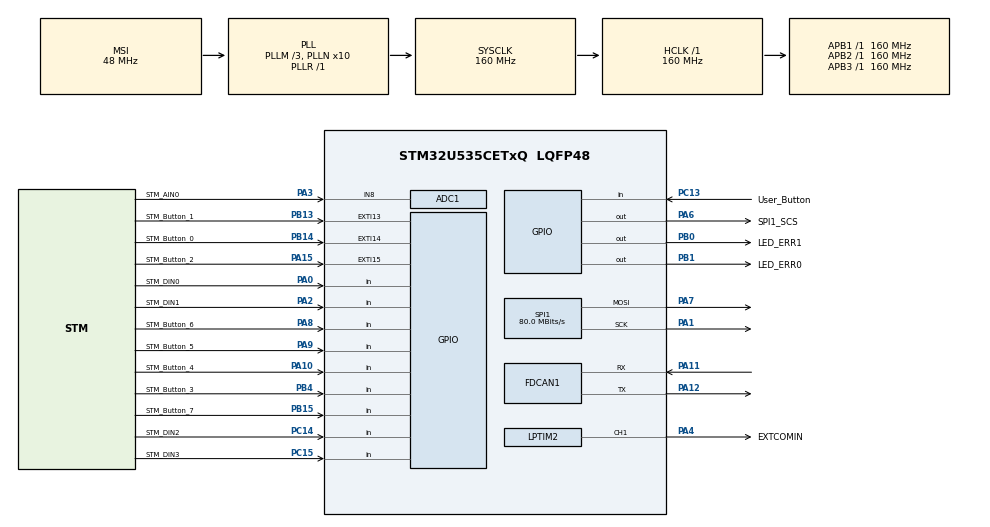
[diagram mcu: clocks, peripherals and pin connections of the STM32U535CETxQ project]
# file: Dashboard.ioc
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ADC1.Channel-0\#ChannelRegularConversion=ADC_CHANNEL_8
ADC1.MonitoredBy-0\#ChannelRegularConversion=__NULL
ADC1.NbrOfConversionFlag=1
ADC1.OffsetNumber-0\#ChannelRegularConversion=ADC_OFFSET_NONE
ADC1.Rank-0\#ChannelRegularConversion=1
ADC1.SamplingTime-0\#ChannelRegularConversion=ADC_SAMPLETIME_5CYCLE
ADC1.master=1
CORTEX_M33_NS.userName=CORTEX_M33
FDCAN1.CalculateBaudRateNominal=500000
FDCAN1.CalculateTimeBitNominal=2000
FDCAN1.CalculateTimeQuantumNominal=100.0
FDCAN1.NominalPrescaler=8
FDCAN1.NominalTimeSeg1=15
FDCAN1.NominalTimeSeg2=4
GPDMA1.DIRECTION_GPDMACH12=DMA_MEMORY_TO_PERIPH
GPDMA1.IPHANDLE_GPDMACH12-SIMPLEREQUEST_GPDMACH12=__NULL
GPDMA1.PRIORITY_GPDMACH12=DMA_LOW_PRIORITY_HIGH_WEIGHT
GPDMA1.REQUEST_GPDMACH12=GPDMA1_REQUEST_SPI1_TX
GPDMA1.SRCINC_GPDMACH12=DMA_SINC_INCREMENTED
LPTIM2.OCPulse_1=800
LPTIM2.Period=1599
Mcu.Family=STM32U5
Mcu.Name=STM32U535CETxQ
Mcu.Package=LQFP48
NVIC.EXTI13_IRQn=true\:0\:0\:false\:false\:true\:true\:true\:true
NVIC.EXTI14_IRQn=true\:0\:0\:false\:false\:true\:true\:true\:true
NVIC.EXTI15_IRQn=true\:0\:0\:false\:false\:true\:true\:true\:true
NVIC.FDCAN1_IT0_IRQn=true\:0\:0\:false\:false\:true\:true\:true\:true
NVIC.GPDMA1_Channel12_IRQn=true\:0\:0\:false\:false\:true\:false\:true\:true
NVIC.PriorityGroup=NVIC_PRIORITYGROUP_4
NVIC.SPI1_IRQn=true\:0\:0\:false\:false\:true\:false\:true\:true
NVIC.TIM2_IRQn=true\:0\:0\:false\:false\:true\:true\:true\:true
PA0.GPIO_Label=STM_DIN0
PA0.Signal=GPIO_Input
PA1.Mode=TX_Only_Simplex_Unidirect_Master
PA1.Signal=SPI1_SCK
PA10.GPIO_Label=STM_Button_4
PA10.Signal=GPIO_Input
PA11.Mode=FDCAN_Activate
PA11.Signal=FDCAN1_RX
PA12.Mode=FDCAN_Activate
PA12.Signal=FDCAN1_TX
PA13\ (JTMS/SWDIO).Mode=Serial_Wire
PA13\ (JTMS/SWDIO).Signal=DEBUG_JTMS-SWDIO
PA14\ (JTCK/SWCLK).Mode=Serial_Wire
PA14\ (JTCK/SWCLK).Signal=DEBUG_JTCK-SWCLK
PA15\ (JTDI).GPIO_Label=STM_Button_2
PA15\ (JTDI).GPIO_ModeDefaultEXTI=GPIO_MODE_IT_FALLING
PA15\ (JTDI).Signal=GPXTI15
PA2.GPIO_Label=STM_DIN1
PA2.Signal=GPIO_Input
PA3.GPIO_Label=STM_AIN0
PA3.Mode=IN8-Single-Ended
PA3.Signal=ADC1_IN8
PA4.GPIO_Label=EXTCOMIN
PA4.Signal=S_LPTIM2_CH1
PA6.GPIO_Label=SPI1_SCS
PA6.Signal=GPIO_Output
PA7.Mode=TX_Only_Simplex_Unidirect_Master
PA7.Signal=SPI1_MOSI
PA8.GPIO_Label=STM_Button_6
PA8.Signal=GPIO_Input
PA9.GPIO_Label=STM_Button_5
PA9.Signal=GPIO_Input
PB0.GPIO_Label=LED_ERR1
PB0.Signal=GPIO_Output
PB1.GPIO_Label=LED_ERR0
PB1.Signal=GPIO_Output
PB13.GPIO_Label=STM_Button_1
PB13.GPIO_ModeDefaultEXTI=GPIO_MODE_IT_FALLING
PB13.Signal=GPXTI13
PB14.GPIO_Label=STM_Button_0
PB14.GPIO_ModeDefaultEXTI=GPIO_MODE_IT_FALLING
PB14.Signal=GPXTI14
PB15.GPIO_Label=STM_Button_7
PB15.Signal=GPIO_Input
PB4\ (NJTRST).GPIO_Label=STM_Button_3
PB4\ (NJTRST).Signal=GPIO_Input
PC13.GPIO_Label=User_Button
PC13.Signal=GPIO_Input
PC14-OSC32_IN\ (PC14).GPIO_Label=STM_DIN2
PC14-OSC32_IN\ (PC14).Signal=GPIO_Input
PC15-OSC32_OUT\ (PC15).GPIO_Label=STM_DIN3
PC15-OSC32_OUT\ (PC15).Signal=GPIO_Input
PH0-OSC_IN\ (PH0).Mode=HSE-External-Oscillator
PH0-OSC_IN\ (PH0).Signal=RCC_OSC_IN
PH1-OSC_OUT\ (PH1).Mode=HSE-External-Oscillator
PH1-OSC_OUT\ (PH1).Signal=RCC_OSC_OUT
PWR.PowerMode=PWR_SMPS_SUPPLY
ProjectManager.HeapSize=0x200
ProjectManager.StackSize=0x400
ProjectManager.TargetToolchain=STM32CubeIDE
RCC.ADCFreq_Value=16000000
RCC.AHBFreq_Value=160000000
RCC.APB1Freq_Value=160000000
RCC.APB1TimFreq_Value=160000000
RCC.APB2Freq_Value=160000000
RCC.APB2TimFreq_Value=160000000
RCC.APB3Freq_Value=160000000
RCC.CortexFreq_Value=160000000
RCC.DACCLockSelectionVirtual=RCC_DAC1CLKSOURCE_LSI
RCC.DACCLockSelectionVirtualString=RCC_DAC1CLKSOURCE_LSI
RCC.EPOD_VALUE=48000000
RCC.HCLKFreq_Value=160000000
RCC.HSE_VALUE=16000000
RCC.HSI48_VALUE=48000000
RCC.HSI_VALUE=16000000
RCC.LPTIM2CLockSelectionVirtual=RCC_LPTIM2CLKSOURCE_LSI
RCC.LSE_VALUE=32768
RCC.LSIDIV_VALUE=32000
RCC.MSIClockRange=RCC_MSIRANGE_0
RCC.MSI_VALUE=48000000
RCC.PLL1R=1
RCC.PLL2FRACN=0
RCC.PLL3FRACN=0
RCC.PLLFRACN=0
RCC.PLLM=3
RCC.PLLN=10
RCC.SYSCLKFreq_VALUE=160000000
RCC.SYSCLKSource=RCC_SYSCLKSOURCE_PLLCLK
RCC.USBFreq_Value=48000000
RCC.VCOOutputFreq_Value=160000000
SH.S_LPTIM2_CH1.0=LPTIM2_CH1,OutputIO_CH1
SPI1.CalculateBaudRate=80.0 MBits/s
SPI1.Direction=SPI_DIRECTION_2LINES_TXONLY
SPI1.Mode=SPI_MODE_MASTER
SPI1.VirtualType=VM_MASTER
TIM2.AutoReloadPreload=TIM_AUTORELOAD_PRELOAD_ENABLE
TIM2.PeriodNoDither=999999
TIM2.Prescaler=159
VP_GPDMA1_VS_GPDMACH12.Mode=SIMPLEREQUEST_GPDMACH12
VP_ICACHE_VS_ICACHE.Mode=DirectMappedCache
VP_LPBAMQUEUE_VS_QUEUE.Mode=QUEUEMODE
VP_LPBAM_VS_SIG1.Mode=SmartRun
VP_LPBAM_VS_SIG4.Mode=LPDMA1
VP_LPTIM2_VS_CH1.Mode=Channel_1_Active
VP_LPTIM2_VS_LPTIM_counterModeInternalClock.Mode=Counts__internal_clock_event_00
VP_MEMORYMAP_VS_MEMORYMAP.Mode=CurAppReg
VP_PWR_VS_LPOM.Mode=PowerOptimisation
VP_PWR_VS_SECSignals.Mode=Security/Privilege
VP_PWR_Vdda.Mode=isolationVdda
VP_TIM2_VS_ClockSourceINT.Mode=Internal
board=custom

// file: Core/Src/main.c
/* USER CODE BEGIN Header */
/**
 ******************************************************************************
 * @file           : main.c
 * @brief          : Main program body
 ******************************************************************************
 * @attention
 *
 * Copyright (c) 2026 STMicroelectronics.
 * All rights reserved.
 *
 * This software is licensed under terms that can be found in the LICENSE file
 * in the root directory of this software component.
 * If no LICENSE file comes with this software, it is provided AS-IS.
 *
 ******************************************************************************
 */
/* USER CODE END Header */
#include "main.h"

/* USER CODE BEGIN Includes */
#include <stdio.h>
#include "lvgl.h"
#include "SHARP_MIP.h"
#include "ui.h"
#include "vehicle_data.h"
/* USER CODE END Includes */

ADC_HandleTypeDef hadc1;

FDCAN_HandleTypeDef hfdcan1;

LPTIM_HandleTypeDef hlptim2;

SPI_HandleTypeDef hspi1;
DMA_HandleTypeDef handle_GPDMA1_Channel12;

TIM_HandleTypeDef htim2;

void SystemClock_Config(void);
static void SystemPower_Config(void);
static void MX_GPIO_Init(void);
static void MX_GPDMA1_Init(void);
static void MX_SPI1_Init(void);
static void MX_ADC1_Init(void);
static void MX_FDCAN1_Init(void);
static void MX_LPTIM2_Init(void);
static void MX_TIM2_Init(void);
static void MX_ICACHE_Init(void);
/* USER CODE BEGIN PFP */
void Debug_LED_ShowError(uint8_t errorState);
void Light_Process(void);
void FDCAN_Send_ControlData(void);
/* USER CODE END PFP */

/* USER CODE BEGIN 0 */

void Light_Process(void)
{
	LightData.Left_Signal = (HAL_GPIO_ReadPin(STM_DIN0_GPIO_Port, STM_DIN0_Pin)
			== GPIO_PIN_SET);
	LightData.Right_Signal = (HAL_GPIO_ReadPin(STM_DIN1_GPIO_Port, STM_DIN1_Pin)
			== GPIO_PIN_SET);
	LightData.Hazard_Signal = (HAL_GPIO_ReadPin(STM_DIN2_GPIO_Port,
	STM_DIN2_Pin) == GPIO_PIN_SET);
}

void Dashboard_Update(void)
{
	lv_label_set_text(ui_FaultcodeLabel, "00");
	lv_label_set_text(ui_FaultcodecountLabel, "+0");

	/* 1. 속도 및 권장 속도 매핑 */
	lv_label_set_text_fmt(ui_SpeedLabel, "%d", DrivingData.Speed);
	lv_label_set_text_fmt(ui_RecommendLabel, "%d", DrivingData.Recommend_Speed);

	/* 2. 전력 시스템 및 배터리 정보 */
	lv_label_set_text_fmt(ui_MpptLabel, "%d W", DrivingData.MPPT_Power);
	lv_label_set_text_fmt(ui_MotorLabel, "%d W", DrivingData.Motor_Power);
	lv_label_set_text_fmt(ui_BattaryLabel, "%d%%", DrivingData.Battery_SOC);

	lv_bar_set_value(ui_Bar1, InfoData.Info_4, LV_ANIM_OFF);

	if (DrivingData.Signal_State == true)
	{
		lv_obj_clear_flag(ui_TeleImage, LV_OBJ_FLAG_HIDDEN); // 통신 연결 시 표시
	}
	else
	{
		lv_obj_add_flag(ui_TeleImage, LV_OBJ_FLAG_HIDDEN);   // 통신 끊김 시 숨김
	}

	// 배터리 상태 이상 시 경고 아이콘 노출 제어
	if (DrivingData.Battery_State == false)
	{
		lv_obj_clear_flag(ui_BattarywarnImage, LV_OBJ_FLAG_HIDDEN);
	}
	else
	{
		lv_obj_add_flag(ui_BattarywarnImage, LV_OBJ_FLAG_HIDDEN);
	}

	/* 3. 시스템 상세 정보 (라벨 위젯 연동) */
	lv_label_set_text_fmt(ui_info1unit, "%d %%", InfoData.Info_1);
	lv_label_set_text_fmt(ui_info2unit, "%d W", InfoData.Info_2);
	lv_label_set_text_fmt(ui_info3unit, "%d km", InfoData.Info_3);

	/* 4. 시간 표시 (HH:MM 포맷) */
	static char time_buf[16];
	snprintf(time_buf, sizeof(time_buf), "%02d:%02d", InfoData.Time_Hour,
			InfoData.Time_Min);
	lv_label_set_text(ui_TimeLabel, time_buf);

	/* 5. ACC UI 제어 */
	if (AccData.Acc_state)
	{
		lv_obj_clear_flag(ui_AccImage, LV_OBJ_FLAG_HIDDEN);
		lv_obj_clear_flag(ui_AccUnit, LV_OBJ_FLAG_HIDDEN);
		lv_obj_clear_flag(ui_AccLabel, LV_OBJ_FLAG_HIDDEN);
		lv_label_set_text_fmt(ui_AccLabel, "%d", AccData.Acc_speed);
	}
	else
	{
		lv_obj_add_flag(ui_AccImage, LV_OBJ_FLAG_HIDDEN);
		lv_obj_add_flag(ui_AccUnit, LV_OBJ_FLAG_HIDDEN);
		lv_obj_add_flag(ui_AccLabel, LV_OBJ_FLAG_HIDDEN);
	}

	static uint32_t lastBlinkTick = 0;
	static bool isVisible = false;

	// 일단 무조건 아이콘을 모두 숨김 상태로 시작
	lv_obj_add_flag(ui_Left1Image, LV_OBJ_FLAG_HIDDEN);
	lv_obj_add_flag(ui_Right1Image, LV_OBJ_FLAG_HIDDEN);
	lv_obj_add_flag(ui_HazzardImage, LV_OBJ_FLAG_HIDDEN);

	// 셋 중 하나라도 신호가 들어와 있을 때만 연산 시작!
	if (LightData.Left_Signal || LightData.Right_Signal
			|| LightData.Hazard_Signal)
	{
		// 0.5초가 지났는지 확인
		if (HAL_GetTick() - lastBlinkTick >= 500)
		{
			isVisible = !isVisible;
			lastBlinkTick = HAL_GetTick();
		}

		// 보여줄 타이밍일 때만 아이콘 표시
		if (isVisible)
		{
			if (LightData.Hazard_Signal)
			{
				lv_obj_clear_flag(ui_HazzardImage, LV_OBJ_FLAG_HIDDEN);
				lv_obj_clear_flag(ui_Left1Image, LV_OBJ_FLAG_HIDDEN);
				lv_obj_clear_flag(ui_Right1Image, LV_OBJ_FLAG_HIDDEN);
			}
			else
			{
				if (LightData.Left_Signal)
				{
					lv_obj_clear_flag(ui_Left1Image, LV_OBJ_FLAG_HIDDEN);
				}
				if (LightData.Right_Signal)
				{
					lv_obj_clear_flag(ui_Right1Image, LV_OBJ_FLAG_HIDDEN);
				}
			}
		}
	}
	else
	{
		// 버튼을 모두 떼었을 때: 다음에 버튼을 누르면 즉시 불이 켜지도록 초기화
		isVisible = true;
		lastBlinkTick = HAL_GetTick();
	}
}
/* USER CODE END 0 */

int main(void)
{

  /* MCU Configuration--------------------------------------------------------*/

  /* Reset of all peripherals, Initializes the Flash interface and the Systick. */
  HAL_Init();

  /* Configure the System Power */
  SystemPower_Config();

  /* Configure the system clock */
  SystemClock_Config();

  /* Initialize all configured peripherals */
  MX_GPIO_Init();
  MX_GPDMA1_Init();
  MX_SPI1_Init();
  MX_ADC1_Init();
  MX_FDCAN1_Init();
  MX_LPTIM2_Init();
  MX_TIM2_Init();
  MX_ICACHE_Init();
  /* USER CODE BEGIN 2 */
	HAL_FDCAN_ConfigGlobalFilter(&hfdcan1, FDCAN_REJECT, FDCAN_REJECT,
	FDCAN_FILTER_REMOTE, FDCAN_FILTER_REMOTE);

	FDCAN_FilterTypeDef sFilterConfig;

	sFilterConfig.IdType = FDCAN_STANDARD_ID;

	sFilterConfig.FilterIndex = 0;		//filter 1
	sFilterConfig.FilterType = FDCAN_FILTER_DUAL;
	sFilterConfig.FilterConfig = FDCAN_FILTER_TO_RXFIFO0;
	sFilterConfig.FilterID1 = 0x010;
	sFilterConfig.FilterID2 = 0x100;
	HAL_FDCAN_ConfigFilter(&hfdcan1, &sFilterConfig);

	sFilterConfig.FilterIndex = 1;		//filter 2
	sFilterConfig.FilterID1 = 0x200;
	sFilterConfig.FilterID2 = 0x201;
	HAL_FDCAN_ConfigFilter(&hfdcan1, &sFilterConfig);

	HAL_FDCAN_Start(&hfdcan1);
	HAL_FDCAN_ActivateNotification(&hfdcan1, FDCAN_IT_RX_FIFO0_NEW_MESSAGE, 0);

	HAL_LPTIM_PWM_Start(&hlptim2, LPTIM_CHANNEL_1);		//EXTCOMIN Start

	// 2. LVGL 핵심 초기화
	lv_init();

	// 3. 디스플레이 버퍼 및 드라이버 초기화 (SHARP MIP 설정)
	static lv_disp_draw_buf_t draw_buf;
	static uint8_t buf_1[240 * (2 + 320 / 8) + 2]; // Sharp MIP 전용 Oversized 버퍼
	lv_disp_draw_buf_init(&draw_buf, buf_1, NULL, 320 * 240);

	static lv_disp_drv_t disp_drv;
	lv_disp_drv_init(&disp_drv);
	disp_drv.hor_res = 320;
	disp_drv.ver_res = 240;
	disp_drv.flush_cb = sharp_mip_flush;
	disp_drv.rounder_cb = sharp_mip_rounder;
	disp_drv.set_px_cb = sharp_mip_set_px;
	disp_drv.draw_buf = &draw_buf;
	lv_disp_drv_register(&disp_drv);

	// 4. SquareLine UI 초기화
	ui_init();

	Debug_LED_ShowError(0);
  /* USER CODE END 2 */

  /* Infinite loop */
	while (1)
	{

    /* USER CODE BEGIN 3 */
		Light_Process();			//Light Update
		Dashboard_Update();		//UI Update
		lv_timer_handler();		//LVGL Update
		static uint32_t lastTxTick = 0;
		if (HAL_GetTick() - lastTxTick >= 100)
		{
			FDCAN_Send_ControlData();
			lastTxTick = HAL_GetTick();
		}

		HAL_Delay(5);
	}
  /* USER CODE END 3 */
}

void SystemClock_Config(void)
{
  RCC_OscInitTypeDef RCC_OscInitStruct = {0};
  RCC_ClkInitTypeDef RCC_ClkInitStruct = {0};

  /** Configure the main internal regulator output voltage
  */
  if (HAL_PWREx_ControlVoltageScaling(PWR_REGULATOR_VOLTAGE_SCALE1) != HAL_OK)
  {
    Error_Handler();
  }

  /** Initializes the CPU, AHB and APB buses clocks
  */
  RCC_OscInitStruct.OscillatorType = RCC_OSCILLATORTYPE_HSI|RCC_OSCILLATORTYPE_LSI
                              |RCC_OSCILLATORTYPE_MSI;
  RCC_OscInitStruct.HSIState = RCC_HSI_ON;
  RCC_OscInitStruct.HSICalibrationValue = RCC_HSICALIBRATION_DEFAULT;
  RCC_OscInitStruct.LSIState = RCC_LSI_ON;
  RCC_OscInitStruct.MSIState = RCC_MSI_ON;
  RCC_OscInitStruct.MSICalibrationValue = RCC_MSICALIBRATION_DEFAULT;
  RCC_OscInitStruct.MSIClockRange = RCC_MSIRANGE_0;
  RCC_OscInitStruct.LSIDiv = RCC_LSI_DIV1;
  RCC_OscInitStruct.PLL.PLLState = RCC_PLL_ON;
  RCC_OscInitStruct.PLL.PLLSource = RCC_PLLSOURCE_MSI;
  RCC_OscInitStruct.PLL.PLLMBOOST = RCC_PLLMBOOST_DIV4;
  RCC_OscInitStruct.PLL.PLLM = 3;
  RCC_OscInitStruct.PLL.PLLN = 10;
  RCC_OscInitStruct.PLL.PLLP = 2;
  RCC_OscInitStruct.PLL.PLLQ = 2;
  RCC_OscInitStruct.PLL.PLLR = 1;
  RCC_OscInitStruct.PLL.PLLRGE = RCC_PLLVCIRANGE_1;
  RCC_OscInitStruct.PLL.PLLFRACN = 0;
  if (HAL_RCC_OscConfig(&RCC_OscInitStruct) != HAL_OK)
  {
    Error_Handler();
  }

  /** Initializes the CPU, AHB and APB buses clocks
  */
  RCC_ClkInitStruct.ClockType = RCC_CLOCKTYPE_HCLK|RCC_CLOCKTYPE_SYSCLK
                              |RCC_CLOCKTYPE_PCLK1|RCC_CLOCKTYPE_PCLK2
                              |RCC_CLOCKTYPE_PCLK3;
  RCC_ClkInitStruct.SYSCLKSource = RCC_SYSCLKSOURCE_PLLCLK;
  RCC_ClkInitStruct.AHBCLKDivider = RCC_SYSCLK_DIV1;
  RCC_ClkInitStruct.APB1CLKDivider = RCC_HCLK_DIV1;
  RCC_ClkInitStruct.APB2CLKDivider = RCC_HCLK_DIV1;
  RCC_ClkInitStruct.APB3CLKDivider = RCC_HCLK_DIV1;

  if (HAL_RCC_ClockConfig(&RCC_ClkInitStruct, FLASH_LATENCY_4) != HAL_OK)
  {
    Error_Handler();
  }
}

/**
  * @brief Power Configuration
  * @retval None
  */
static void SystemPower_Config(void)
{

  /*
   * Switch to SMPS regulator instead of LDO
   */
  if (HAL_PWREx_ConfigSupply(PWR_SMPS_SUPPLY) != HAL_OK)
  {
    Error_Handler();
  }
}

static void MX_ADC1_Init(void)
{

  ADC_ChannelConfTypeDef sConfig = {0};

  /** Common config
  */
  hadc1.Instance = ADC1;
  hadc1.Init.ClockPrescaler = ADC_CLOCK_ASYNC_DIV1;
  hadc1.Init.Resolution = ADC_RESOLUTION_14B;
  hadc1.Init.GainCompensation = 0;
  hadc1.Init.DataAlign = ADC_DATAALIGN_RIGHT;
  hadc1.Init.ScanConvMode = ADC_SCAN_DISABLE;
  hadc1.Init.EOCSelection = ADC_EOC_SINGLE_CONV;
  hadc1.Init.LowPowerAutoWait = DISABLE;
  hadc1.Init.ContinuousConvMode = DISABLE;
  hadc1.Init.NbrOfConversion = 1;
  hadc1.Init.DiscontinuousConvMode = DISABLE;
  hadc1.Init.ExternalTrigConv = ADC_SOFTWARE_START;
  hadc1.Init.ExternalTrigConvEdge = ADC_EXTERNALTRIGCONVEDGE_NONE;
  hadc1.Init.DMAContinuousRequests = DISABLE;
  hadc1.Init.TriggerFrequencyMode = ADC_TRIGGER_FREQ_HIGH;
  hadc1.Init.Overrun = ADC_OVR_DATA_PRESERVED;
  hadc1.Init.LeftBitShift = ADC_LEFTBITSHIFT_NONE;
  hadc1.Init.ConversionDataManagement = ADC_CONVERSIONDATA_DR;
  hadc1.Init.OversamplingMode = DISABLE;
  if (HAL_ADC_Init(&hadc1) != HAL_OK)
  {
    Error_Handler();
  }

  /** Configure Regular Channel
  */
  sConfig.Channel = ADC_CHANNEL_8;
  sConfig.Rank = ADC_REGULAR_RANK_1;
  sConfig.SamplingTime = ADC_SAMPLETIME_5CYCLE;
  sConfig.SingleDiff = ADC_SINGLE_ENDED;
  sConfig.OffsetNumber = ADC_OFFSET_NONE;
  sConfig.Offset = 0;
  if (HAL_ADC_ConfigChannel(&hadc1, &sConfig) != HAL_OK)
  {
    Error_Handler();
  }

}

static void MX_FDCAN1_Init(void)
{

  hfdcan1.Instance = FDCAN1;
  hfdcan1.Init.ClockDivider = FDCAN_CLOCK_DIV1;
  hfdcan1.Init.FrameFormat = FDCAN_FRAME_CLASSIC;
  hfdcan1.Init.Mode = FDCAN_MODE_NORMAL;
  hfdcan1.Init.AutoRetransmission = DISABLE;
  hfdcan1.Init.TransmitPause = DISABLE;
  hfdcan1.Init.ProtocolException = DISABLE;
  hfdcan1.Init.NominalPrescaler = 8;
  hfdcan1.Init.NominalSyncJumpWidth = 1;
  hfdcan1.Init.NominalTimeSeg1 = 15;
  hfdcan1.Init.NominalTimeSeg2 = 4;
  hfdcan1.Init.DataPrescaler = 1;
  hfdcan1.Init.DataSyncJumpWidth = 1;
  hfdcan1.Init.DataTimeSeg1 = 1;
  hfdcan1.Init.DataTimeSeg2 = 1;
  hfdcan1.Init.StdFiltersNbr = 0;
  hfdcan1.Init.ExtFiltersNbr = 0;
  hfdcan1.Init.TxFifoQueueMode = FDCAN_TX_FIFO_OPERATION;
  if (HAL_FDCAN_Init(&hfdcan1) != HAL_OK)
  {
    Error_Handler();
  }

}

static void MX_GPDMA1_Init(void)
{

  /* Peripheral clock enable */
  __HAL_RCC_GPDMA1_CLK_ENABLE();

  /* GPDMA1 interrupt Init */
    HAL_NVIC_SetPriority(GPDMA1_Channel12_IRQn, 0, 0);
    HAL_NVIC_EnableIRQ(GPDMA1_Channel12_IRQn);

}

static void MX_ICACHE_Init(void)
{

  /** Enable instruction cache in 1-way (direct mapped cache)
  */
  if (HAL_ICACHE_ConfigAssociativityMode(ICACHE_1WAY) != HAL_OK)
  {
    Error_Handler();
  }
  if (HAL_ICACHE_Enable() != HAL_OK)
  {
    Error_Handler();
  }

}

static void MX_LPTIM2_Init(void)
{

  LPTIM_OC_ConfigTypeDef sConfig1 = {0};

  hlptim2.Instance = LPTIM2;
  hlptim2.Init.Clock.Source = LPTIM_CLOCKSOURCE_APBCLOCK_LPOSC;
  hlptim2.Init.Clock.Prescaler = LPTIM_PRESCALER_DIV1;
  hlptim2.Init.Trigger.Source = LPTIM_TRIGSOURCE_SOFTWARE;
  hlptim2.Init.Period = 1599;
  hlptim2.Init.UpdateMode = LPTIM_UPDATE_IMMEDIATE;
  hlptim2.Init.CounterSource = LPTIM_COUNTERSOURCE_INTERNAL;
  hlptim2.Init.Input1Source = LPTIM_INPUT1SOURCE_GPIO;
  hlptim2.Init.Input2Source = LPTIM_INPUT2SOURCE_GPIO;
  hlptim2.Init.RepetitionCounter = 0;
  if (HAL_LPTIM_Init(&hlptim2) != HAL_OK)
  {
    Error_Handler();
  }
  sConfig1.Pulse = 800;
  sConfig1.OCPolarity = LPTIM_OCPOLARITY_HIGH;
  if (HAL_LPTIM_OC_ConfigChannel(&hlptim2, &sConfig1, LPTIM_CHANNEL_1) != HAL_OK)
  {
    Error_Handler();
  }
  HAL_LPTIM_MspPostInit(&hlptim2);

}

static void MX_SPI1_Init(void)
{

  SPI_AutonomousModeConfTypeDef HAL_SPI_AutonomousMode_Cfg_Struct = {0};

  /* SPI1 parameter configuration*/
  hspi1.Instance = SPI1;
  hspi1.Init.Mode = SPI_MODE_MASTER;
  hspi1.Init.Direction = SPI_DIRECTION_2LINES_TXONLY;
  hspi1.Init.DataSize = SPI_DATASIZE_4BIT;
  hspi1.Init.CLKPolarity = SPI_POLARITY_LOW;
  hspi1.Init.CLKPhase = SPI_PHASE_1EDGE;
  hspi1.Init.NSS = SPI_NSS_SOFT;
  hspi1.Init.BaudRatePrescaler = SPI_BAUDRATEPRESCALER_2;
  hspi1.Init.FirstBit = SPI_FIRSTBIT_MSB;
  hspi1.Init.TIMode = SPI_TIMODE_DISABLE;
  hspi1.Init.CRCCalculation = SPI_CRCCALCULATION_DISABLE;
  hspi1.Init.CRCPolynomial = 0x7;
  hspi1.Init.NSSPMode = SPI_NSS_PULSE_ENABLE;
  hspi1.Init.NSSPolarity = SPI_NSS_POLARITY_LOW;
  hspi1.Init.FifoThreshold = SPI_FIFO_THRESHOLD_01DATA;
  hspi1.Init.MasterSSIdleness = SPI_MASTER_SS_IDLENESS_00CYCLE;
  hspi1.Init.MasterInterDataIdleness = SPI_MASTER_INTERDATA_IDLENESS_00CYCLE;
  hspi1.Init.MasterReceiverAutoSusp = SPI_MASTER_RX_AUTOSUSP_DISABLE;
  hspi1.Init.MasterKeepIOState = SPI_MASTER_KEEP_IO_STATE_DISABLE;
  hspi1.Init.IOSwap = SPI_IO_SWAP_DISABLE;
  hspi1.Init.ReadyMasterManagement = SPI_RDY_MASTER_MANAGEMENT_INTERNALLY;
  hspi1.Init.ReadyPolarity = SPI_RDY_POLARITY_HIGH;
  if (HAL_SPI_Init(&hspi1) != HAL_OK)
  {
    Error_Handler();
  }
  HAL_SPI_AutonomousMode_Cfg_Struct.TriggerState = SPI_AUTO_MODE_DISABLE;
  HAL_SPI_AutonomousMode_Cfg_Struct.TriggerSelection = SPI_GRP1_GPDMA_CH0_TCF_TRG;
  HAL_SPI_AutonomousMode_Cfg_Struct.TriggerPolarity = SPI_TRIG_POLARITY_RISING;
  if (HAL_SPIEx_SetConfigAutonomousMode(&hspi1, &HAL_SPI_AutonomousMode_Cfg_Struct) != HAL_OK)
  {
    Error_Handler();
  }

}

static void MX_TIM2_Init(void)
{

  TIM_ClockConfigTypeDef sClockSourceConfig = {0};
  TIM_MasterConfigTypeDef sMasterConfig = {0};

  htim2.Instance = TIM2;
  htim2.Init.Prescaler = 159;
  htim2.Init.CounterMode = TIM_COUNTERMODE_UP;
  htim2.Init.Period = 999999;
  htim2.Init.ClockDivision = TIM_CLOCKDIVISION_DIV1;
  htim2.Init.AutoReloadPreload = TIM_AUTORELOAD_PRELOAD_ENABLE;
  if (HAL_TIM_Base_Init(&htim2) != HAL_OK)
  {
    Error_Handler();
  }
  sClockSourceConfig.ClockSource = TIM_CLOCKSOURCE_INTERNAL;
  if (HAL_TIM_ConfigClockSource(&htim2, &sClockSourceConfig) != HAL_OK)
  {
    Error_Handler();
  }
  sMasterConfig.MasterOutputTrigger = TIM_TRGO_RESET;
  sMasterConfig.MasterSlaveMode = TIM_MASTERSLAVEMODE_DISABLE;
  if (HAL_TIMEx_MasterConfigSynchronization(&htim2, &sMasterConfig) != HAL_OK)
  {
    Error_Handler();
  }

}

static void MX_GPIO_Init(void)
{
  GPIO_InitTypeDef GPIO_InitStruct = {0};

  /* GPIO Ports Clock Enable */
  __HAL_RCC_GPIOC_CLK_ENABLE();
  __HAL_RCC_GPIOH_CLK_ENABLE();
  __HAL_RCC_GPIOA_CLK_ENABLE();
  __HAL_RCC_GPIOB_CLK_ENABLE();

  /*Configure GPIO pin Output Level */
  HAL_GPIO_WritePin(SPI1_SCS_GPIO_Port, SPI1_SCS_Pin, GPIO_PIN_RESET);

  /*Configure GPIO pin Output Level */
  HAL_GPIO_WritePin(GPIOB, LED_ERR1_Pin|LED_ERR0_Pin, GPIO_PIN_RESET);

  /*Configure GPIO pins : User_Button_Pin STM_DIN2_Pin STM_DIN3_Pin */
  GPIO_InitStruct.Pin = User_Button_Pin|STM_DIN2_Pin|STM_DIN3_Pin;
  GPIO_InitStruct.Mode = GPIO_MODE_INPUT;
  GPIO_InitStruct.Pull = GPIO_NOPULL;
  HAL_GPIO_Init(GPIOC, &GPIO_InitStruct);

  /*Configure GPIO pins : STM_DIN0_Pin STM_DIN1_Pin STM_Button_6_Pin STM_Button_5_Pin
                           STM_Button_4_Pin */
  GPIO_InitStruct.Pin = STM_DIN0_Pin|STM_DIN1_Pin|STM_Button_6_Pin|STM_Button_5_Pin
                          |STM_Button_4_Pin;
  GPIO_InitStruct.Mode = GPIO_MODE_INPUT;
  GPIO_InitStruct.Pull = GPIO_NOPULL;
  HAL_GPIO_Init(GPIOA, &GPIO_InitStruct);

  /*Configure GPIO pin : SPI1_SCS_Pin */
  GPIO_InitStruct.Pin = SPI1_SCS_Pin;
  GPIO_InitStruct.Mode = GPIO_MODE_OUTPUT_PP;
  GPIO_InitStruct.Pull = GPIO_NOPULL;
  GPIO_InitStruct.Speed = GPIO_SPEED_FREQ_LOW;
  HAL_GPIO_Init(SPI1_SCS_GPIO_Port, &GPIO_InitStruct);

  /*Configure GPIO pins : LED_ERR1_Pin LED_ERR0_Pin */
  GPIO_InitStruct.Pin = LED_ERR1_Pin|LED_ERR0_Pin;
  GPIO_InitStruct.Mode = GPIO_MODE_OUTPUT_PP;
  GPIO_InitStruct.Pull = GPIO_NOPULL;
  GPIO_InitStruct.Speed = GPIO_SPEED_FREQ_LOW;
  HAL_GPIO_Init(GPIOB, &GPIO_InitStruct);

  /*Configure GPIO pins : STM_Button_1_Pin STM_Button_0_Pin */
  GPIO_InitStruct.Pin = STM_Button_1_Pin|STM_Button_0_Pin;
  GPIO_InitStruct.Mode = GPIO_MODE_IT_FALLING;
  GPIO_InitStruct.Pull = GPIO_NOPULL;
  HAL_GPIO_Init(GPIOB, &GPIO_InitStruct);

  /*Configure GPIO pins : STM_Button_7_Pin STM_Button_3_Pin */
  GPIO_InitStruct.Pin = STM_Button_7_Pin|STM_Button_3_Pin;
  GPIO_InitStruct.Mode = GPIO_MODE_INPUT;
  GPIO_InitStruct.Pull = GPIO_NOPULL;
  HAL_GPIO_Init(GPIOB, &GPIO_InitStruct);

  /*Configure GPIO pin : STM_Button_2_Pin */
  GPIO_InitStruct.Pin = STM_Button_2_Pin;
  GPIO_InitStruct.Mode = GPIO_MODE_IT_FALLING;
  GPIO_InitStruct.Pull = GPIO_NOPULL;
  HAL_GPIO_Init(STM_Button_2_GPIO_Port, &GPIO_InitStruct);

  /* EXTI interrupt init*/
  HAL_NVIC_SetPriority(EXTI13_IRQn, 0, 0);
  HAL_NVIC_EnableIRQ(EXTI13_IRQn);

  HAL_NVIC_SetPriority(EXTI14_IRQn, 0, 0);
  HAL_NVIC_EnableIRQ(EXTI14_IRQn);

  HAL_NVIC_SetPriority(EXTI15_IRQn, 0, 0);
  HAL_NVIC_EnableIRQ(EXTI15_IRQn);

}

/* USER CODE BEGIN 4 */
void HAL_FDCAN_RxFifo0Callback(FDCAN_HandleTypeDef *hfdcan, uint32_t RxFifo0ITs)
{
	FDCAN_RxHeaderTypeDef RxHeader;
	uint8_t RxData[8];

	if (HAL_FDCAN_GetRxMessage(hfdcan, FDCAN_RX_FIFO0, &RxHeader, RxData)
			== HAL_OK)
	{
		switch (RxHeader.Identifier)
		{
		case 0x010: 		//Fault/Err
		{
			uint8_t faultNum = RxData[0];
			uint8_t faultCode = RxData[1];

			if (faultNum > 0 && faultNum < 100)
			{
				Fault_Status[faultNum] = faultCode;
				Fault_Data_Changed = true;
			}
			else if (faultNum == 0)
			{

				Fault_Status[0] = faultCode;
			}
			break;
		}

		case 0x100: 		//Driving/Power
		{
			DrivingData.Speed = RxData[0];
			DrivingData.Recommend_Speed = RxData[1];
			DrivingData.MPPT_Power = RxData[2];
			DrivingData.Motor_Power = RxData[3];
			break;
		}

		case 0x200: 		//Status/Information1
		{
			DrivingData.Battery_SOC = RxData[0];

			DrivingData.Signal_State = (RxData[1] & 0x01) ? true : false; // Bit 0
			DrivingData.Battery_State = (RxData[1] & 0x02) ? true : false; // Bit 1

			InfoData.Time_Hour = RxData[2];
			InfoData.Time_Min = RxData[3];
			break;
		}

		case 0x201: 		//Status/Information2
		{
			InfoData.Info_1 = RxData[0];
			InfoData.Info_2 = RxData[1];

			InfoData.Info_3 = (uint16_t) ((RxData[3] << 8) | RxData[2]);

			InfoData.Info_4 = RxData[4];
			break;
		}
		}
	}
}
/* 디버깅 LED 에러 표시 함수 */
void Debug_LED_ShowError(uint8_t errorState)
{
	switch (errorState)
	{
	case 0: // 00 : 정상 상태 (모두 꺼짐)
	{
		HAL_GPIO_WritePin(LED_ERR1_GPIO_Port, LED_ERR1_Pin, GPIO_PIN_RESET);
		HAL_GPIO_WritePin(LED_ERR0_GPIO_Port, LED_ERR0_Pin, GPIO_PIN_RESET);
		break;
	}
	case 1: // 01 : 에러 상태 1 (ERR1 켜짐, ERR0 꺼짐)
	{
		HAL_GPIO_WritePin(LED_ERR1_GPIO_Port, LED_ERR1_Pin, GPIO_PIN_SET);
		HAL_GPIO_WritePin(LED_ERR0_GPIO_Port, LED_ERR0_Pin, GPIO_PIN_RESET);
		break;
	}
	case 2: // 10 : 에러 상태 2 (ERR1 꺼짐, ERR0 켜짐)
	{
		HAL_GPIO_WritePin(LED_ERR1_GPIO_Port, LED_ERR1_Pin, GPIO_PIN_RESET);
		HAL_GPIO_WritePin(LED_ERR0_GPIO_Port, LED_ERR0_Pin, GPIO_PIN_SET);
		break;
	}
	case 3: // 11 : 에러 상태 3 (모두 켜짐 - 크리티컬 에러)
	{
		HAL_GPIO_WritePin(LED_ERR1_GPIO_Port, LED_ERR1_Pin, GPIO_PIN_SET);
		HAL_GPIO_WritePin(LED_ERR0_GPIO_Port, LED_ERR0_Pin, GPIO_PIN_SET);
		break;
	}
	default: // 예외 처리 (혹시 모를 값 방지, 모두 꺼짐)
	{
		HAL_GPIO_WritePin(LED_ERR1_GPIO_Port, LED_ERR1_Pin, GPIO_PIN_RESET);
		HAL_GPIO_WritePin(LED_ERR0_GPIO_Port, LED_ERR0_Pin, GPIO_PIN_RESET);
		break;
	}
	}
}

void HAL_GPIO_EXTI_Callback(uint16_t GPIO_Pin)
{
	// ACC ON/OFF 토글 (버튼 0)
	if (GPIO_Pin == STM_Button_0_Pin)
	{
		AccData.Acc_state = !AccData.Acc_state;
	}

	// ACC 속도 조절은 ACC가 ON 상태일 때만 동작
	else if (AccData.Acc_state)
	{
		// 속도 UP (버튼 1)
		if (GPIO_Pin == STM_Button_1_Pin)
		{
			AccData.Acc_speed++;
		}
		// 속도 DOWN (버튼 2)
		else if (GPIO_Pin == STM_Button_2_Pin)
		{
			if (AccData.Acc_speed > 0)
			{
				AccData.Acc_speed--;
			}
		}
	}
}

void FDCAN_Send_ControlData(void)
{
	FDCAN_TxHeaderTypeDef TxHeader;
	uint8_t TxData[8] =
	{ 0, }; // 배열을 0으로 싹 초기화 (Data[2]~[7]은 자동으로 0x00이 됨)

	// 송신 헤더 설정 (표에 맞춰 ID 0x050 설정)
	TxHeader.Identifier = 0x050;
	TxHeader.IdType = FDCAN_STANDARD_ID;
	TxHeader.TxFrameType = FDCAN_DATA_FRAME;
	TxHeader.DataLength = FDCAN_DLC_BYTES_8;
	TxHeader.ErrorStateIndicator = FDCAN_ESI_ACTIVE;
	TxHeader.BitRateSwitch = FDCAN_BRS_OFF;
	TxHeader.FDFormat = FDCAN_CLASSIC_CAN;
	TxHeader.TxEventFifoControl = FDCAN_NO_TX_EVENTS;
	TxHeader.MessageMarker = 0;

	/* 1. Control Bits (Data[0]) 조합 */
	// 비트 시프트(<<) 와 OR 연산(|)을 이용해 1바이트 안에 여러 bool 값을 우겨넣습니다.
	// LSB(우측 끝)부터 비트 0으로 시작합니다.
	if (AccData.Acc_state)
	{
		TxData[0] |= (1 << 0); // Bit 0
	}
	if (InfoData.Test_Value1)
	{
		TxData[0] |= (1 << 1); // Bit 1
	}
	if (InfoData.Test_Value2)
	{
		TxData[0] |= (1 << 2); // Bit 2
	}
	if (InfoData.Test_Value3)
	{
		TxData[0] |= (1 << 3); // Bit 3
	}

	/* 2. ACC Speed (Data[1]) */
	TxData[1] = AccData.Acc_speed;

	/* 3. CAN 메시지 송신 */
	// 메일박스(Tx FIFO)에 남은 공간이 있는지 안전하게 확인 후 전송
	if (HAL_FDCAN_GetTxFifoFreeLevel(&hfdcan1) > 0)
	{
		HAL_FDCAN_AddMessageToTxFifoQ(&hfdcan1, &TxHeader, TxData);
	}
}

extern lv_disp_drv_t * active_disp_drv;

/**
  * @brief  SPI 전송 완료 콜백 (DMA 전송이 완료되면 자동 호출됨)
  * @param  hspi: SPI handle
  * @retval None
  */
void HAL_SPI_TxCpltCallback(SPI_HandleTypeDef *hspi)
{
    /* 우리가 화면을 그리는 데 사용하는 SPI1이 맞는지 확인 */
    if (hspi->Instance == SPI1)
    {
        /* 1. 전송이 완료되었으므로 CS 핀 비활성화 (LOW) */
        HAL_GPIO_WritePin(SPI1_SCS_GPIO_Port, SPI1_SCS_Pin, GPIO_PIN_RESET);

        /* 2. LVGL에 프레임 버퍼 전송이 완료되었음을 보고 */
        if (active_disp_drv != NULL)
        {
            lv_disp_flush_ready(active_disp_drv);
            active_disp_drv = NULL; /* 다음 프레임을 위해 포인터 초기화 */
        }
    }
}

/* USER CODE END 4 */

void Error_Handler(void)
{
	__disable_irq();
	while (1)
	{
	}
}
